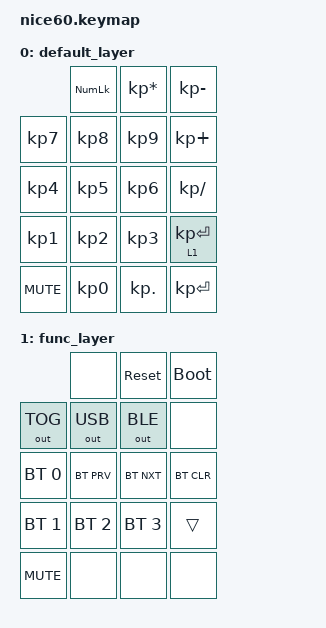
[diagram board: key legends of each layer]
/*
 * Copyright (c) 2021 Nick Winans
 *
 * SPDX-License-Identifier: MIT
 */

#include <behaviors.dtsi>
#include <dt-bindings/zmk/keys.h>
#include <dt-bindings/zmk/rgb.h>
#include <dt-bindings/zmk/bt.h>
#include <dt-bindings/zmk/outputs.h>
#include <dt-bindings/zmk/reset.h>
#include <dt-bindings/zmk/ext_power.h>

/ {
	keymap {
		compatible = "zmk,keymap";
		
		default_layer {
// ------------------------------------------------------------------------------------------
// | ESC |  1  |  2  |  3  |  4  |  5  |  6  |  7  |  8  |  9  |  0  |  -  |  =  |   BKSP   |
// | TAB  |  Q  |  W  |  E  |  R  |  T  |  Y  |  U  |  I  |  O  |  P  |  [  |  ]  |   "|"   |
// | CAPS  |  A  |  S  |  D  |  F  |  G  |  H  |  J  |  K  |  L  |  ;  |  '  |     ENTER    |
// |  SHIFT  |  Z  |  X  |  C  |  V  |  B  |  N  |  M  |  ,  |  .  |  /  |      SHIFT       |
// |  CTL  |  WIN  |  ALT  |            SPACE              |  ALT  |  WIN  |  MO(1) |  CTL  |
// ------------------------------------------------------------------------------------------
			bindings = <
                                &kp KP_NUMLOCK  &kp KP_ASTERISK &kp KP_MINUS
                &kp KP_NUMBER_7 &kp KP_NUMBER_8 &kp KP_NUMBER_9 &kp KP_PLUS
                &kp KP_NUMBER_4 &kp KP_NUMBER_5 &kp KP_NUMBER_6 &kp KP_SLASH
                &kp KP_NUMBER_1 &kp KP_NUMBER_2 &kp KP_NUMBER_3 &lt 1 KP_ENTER
                &kp C_MUTE      &kp KP_NUMBER_0 &kp KP_DOT      &kp KP_ENTER
            >;
		};

		func_layer {
// ------------------------------------------------------------------------------------------------
// | BT CLR | F1  | F2  | F3  | F4  | F5  | F6  | F7  | F8  | F9  | F10  | F11 | F12 | EFFECT REV |
// |  BT 1   |   |  UP |   | HUEUP | SATUP | BRIUP | SPDUP |   |     |    |     |     |           |
// |   BT 2   | LT |  DN  | RT | HUEDN | SATDN | BRIDN | SPDDN |   |     |   |     |  EFFECT FORW |
// |    BT 3     |     |      |      |     |     |     |     |     |     |     |                  |
// |   BT 4  |      |      |             TOG RGB                | PRT SCR |       |       |  DEL  |
// ------------------------------------------------------------------------------------------------
			bindings = <
                                &none           &sys_reset      &bootloader
                &out OUT_TOG    &out OUT_USB    &out OUT_BLE    &none
                &bt BT_SEL 0    &bt BT_PRV      &bt BT_NXT      &bt BT_CLR
                &bt BT_SEL 1    &bt BT_SEL 2    &bt BT_SEL 3    &trans
                &kp C_MUTE      &none           &none           &none
             >;
		};
	};
};
